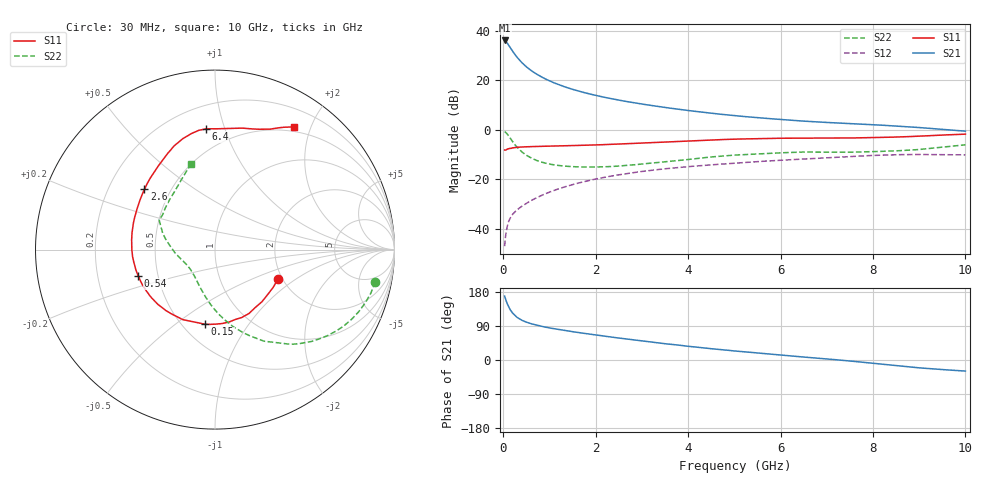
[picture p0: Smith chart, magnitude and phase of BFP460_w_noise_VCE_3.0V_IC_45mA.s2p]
! (c) 2016  Infineon Technologies AG, Munich
! Infineon Technologies  Discrete & RF Semiconductors
! BFP460
! VCE =  3.0 V,  IC =  45 mA
! Common Emitter S-Parameters:  Jan 2016
# GHz  S  MA  R  50
!  f  S11  S21  S12  S22
! GHz  MAG  ANG  MAG  ANG  MAG  ANG  MAG  ANG
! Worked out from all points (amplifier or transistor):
!   229 points, 30 MHz to 10 GHz, reference 50 ohm
!   highest |S21| = 36.1 dB at 30 MHz (marker M1)
!   |S21| within 3 dB of that: start of sweep to 155.1 MHz
!   unconditionally stable (mu >= 1): 1.22 GHz to 7.531 GHz
!   at 280 MHz: K = 0.61, MSG = 31.3 dB, |S12| = -32.8 dB
!   at 1.78 GHz: K = 1.03, MAG = 16.9 dB, |S12| = -20.9 dB
!   at 10 GHz: K = 0.97, MSG = 4.8 dB, |S12| = -10.2 dB
!   lowest NFmin = 1.72 dB at 3.5 GHz
!   S11 on the Smith chart (normalised r, x): 30 MHz: 1.90, -0.73; 150 MHz: 0.64, -0.64; 540 MHz: 0.39, -0.14; 2.6 GHz: 0.36, +0.33; 6.4 GHz: 0.35, +0.86; 10 GHz: 0.44, +1.75
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0.03  0.3877 -25.1  63.84 168.5  0.0044 83.6  0.9101 -11.4
0.045  0.3854 -36.8  62.12 162.6  0.0063 79.6  0.8946 -17.5
0.06  0.3908 -47.9  60.23 157.4  0.0082 76.4  0.8723 -23.4
0.07  0.3936 -55.9  59.05 153.9  0.0092 73.8  0.8534 -27.2
0.09  0.4067 -68.5  55.84 147.8  0.0113 70.6  0.8105 -34.3
0.12  0.4138 -84.6  50.8 139.7  0.014 66.3  0.7423 -43.6
0.15  0.4194 -97.8  45.95 132.9  0.0162 63.2  0.6752 -51.4
0.2  0.4295 -114.7  39.05 124.1  0.0192 60.2  0.5784 -61.9
0.26  0.436 -128.8  32.6 116.6  0.0221 59.0  0.4892 -71.2
0.3  0.4407 -136.1  29.14 112.5  0.0239 58.7  0.4416 -76.7
0.4  0.4466 -149.3  22.88 105.1  0.0281 59.4  0.3582 -87.0
0.54  0.4517 -161.1  17.56 98.4  0.034 61.0  0.2897 -97.3
0.7  0.4575 -170.6  13.68 92.5  0.041 62.5  0.2432 -107.0
1  0.4648 177.2  9.725 84.7  0.0545 63.5  0.2015 -120.1
1.7  0.4822 158.2  5.797 71.2  0.0866 61.1  0.1761 -139.3
2.6  0.5177 139.5  3.808 56.4  0.1264 54.3  0.1866 -159.0
3.4  0.5557 126.1  2.902 44.7  0.158 47.0  0.2189 -173.8
5.1  0.6468 105.1  1.886 22.9  0.2128 33.5  0.3088 161.6
6.4  0.6737 94.5  1.513 8.9  0.2517 23.4  0.3505 152.3
6.8  0.6733 90.9  1.435 4.9  0.2634 20.6  0.3518 150.7
8.4  0.7054 72.3  1.201 -13.6  0.3099 6.1  0.3702 135.1
10  0.8119 57.3  0.933 -29.2  0.3092 -6.6  0.4944 105.8
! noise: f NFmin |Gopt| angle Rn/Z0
0.45  1.77  0.29  -170  0.13
0.9  1.79  0.27  -162  0.14
1.9  1.89  0.36  -141  0.15
3.5  1.72  0.59  -117  0.24
